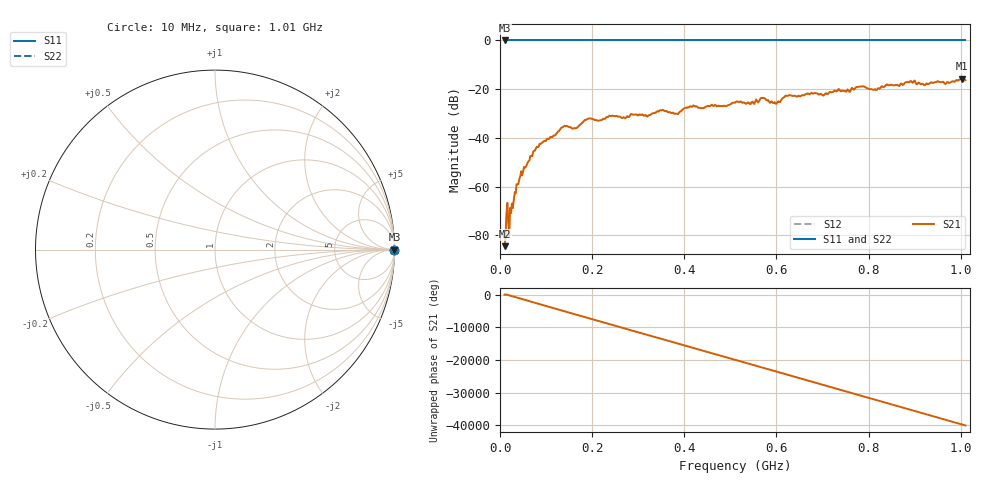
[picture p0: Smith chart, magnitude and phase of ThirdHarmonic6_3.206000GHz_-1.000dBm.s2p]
! 8/17/2025 9:45:01 AM
! C:\ANRITSUVNA\TEMP\TEMP.S2P
! CHANNEL.1
! TR.MEASUREMENT
! RAW.DATA
! RF.CORRECTION.OFF
! AVERAGING.OFF
! IF.BANDWIDTH: 5KHZ
! SWEEPTYPE:  FREQ.SWEEP(Linear)
! Reference Plane Port Info
! PORT:  PORT1  PORT2
! DISTANCE:  0  m  0  m
! TIME:  0  s  0  s
! PHASE.OFFSET:  0  deg.  0  deg.
! LOSS:  0  dB  0  dB
! REF.LOSS:  0  dB  0  dB
! REF.FREQ:  0  Hz  0  Hz
! Power Info
! POWER:  -20  dBm  -20  dBm
! EFF.POWER:  -20  dBm  -20  dBm
! SOURCE.ATTEN:  0  dB  0  dB
! TEST.ATTEN:  0  dB  0  dB
# GHZ S RI R 50.0
! FREQ.GHZ  S11RE  S11IM  S21RE  S21IM  S12RE  S12IM  S22RE  S22IM
!; PortSelection: Port_12
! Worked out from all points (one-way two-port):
!   501 points, 10 MHz to 1.01 GHz, reference 50 ohm
!   highest |S21| = -15.69 dB at 1.002 GHz (marker M1); lowest = -84.4 dB at 10 MHz (marker M2)
!   lowest |S11| = 0.0 dB at 10 MHz (marker M3)
!   |S11| at or under -10 dB: nowhere
!   |S22| runs from 0.0 to 0.0 dB; largest |S21 - S12| = 1.2
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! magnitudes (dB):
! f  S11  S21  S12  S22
! 10 MHz  0.0  -84.4  0.0  0.0
! 18 MHz  0.0  -74.5  0.0  0.0
! 24 MHz  0.0  -70.9  0.0  0.0
! 34 MHz  0.0  -62.8  0.0  0.0
! 42 MHz  0.0  -56.8  0.0  0.0
! 76 MHz  0.0  -45.2  0.0  0.0
! 136 MHz  0.0  -35.6  0.0  0.0
! 162 MHz  0.0  -35.9  0.0  0.0
! 178 MHz  0.0  -33.9  0.0  0.0
! 344 MHz  0.0  -29.2  0.0  0.0
! 382 MHz  0.0  -30.0  0.0  0.0
! 416 MHz  0.0  -27.3  0.0  0.0
! 510 MHz  0.0  -25.6  0.0  0.0
! 548 MHz  0.0  -25.1  0.0  0.0
! 570 MHz  0.0  -23.7  0.0  0.0
! 596 MHz  0.0  -25.3  0.0  0.0
! 624 MHz  0.0  -22.7  0.0  0.0
! 678 MHz  0.0  -21.8  0.0  0.0
! 814 MHz  0.0  -20.0  0.0  0.0
! 844 MHz  0.0  -18.4  0.0  0.0
! 1.002 GHz  0.0  -15.7  0.0  0.0
! 1.01 GHz  0.0  -16.3  0.0  0.0
